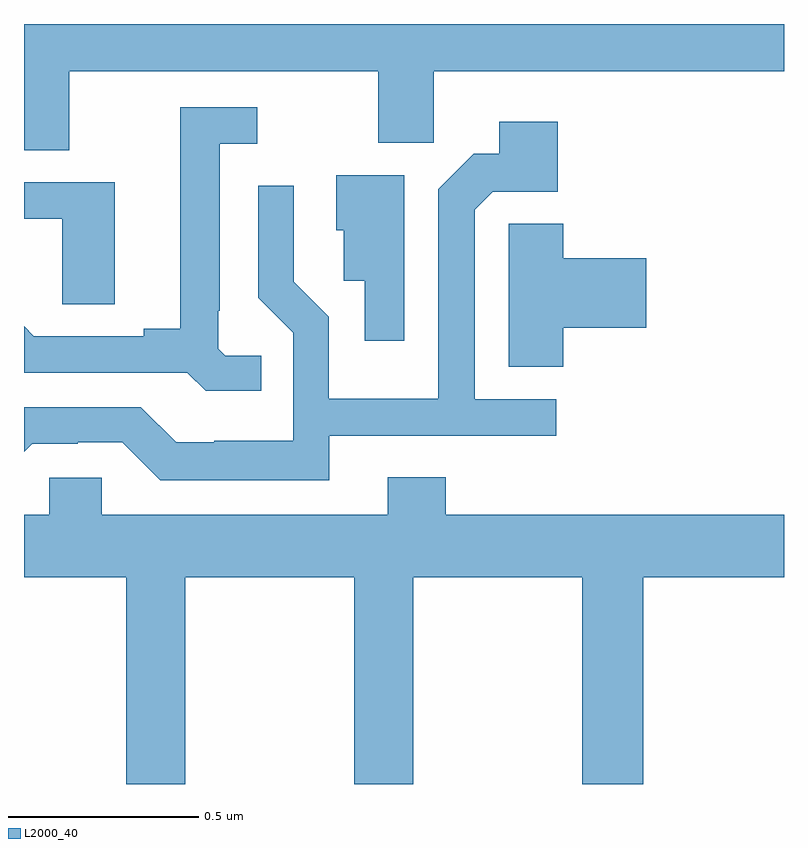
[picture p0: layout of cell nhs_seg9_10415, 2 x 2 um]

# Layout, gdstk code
import gdstk
lib = gdstk.Library(unit=1e-6, precision=1e-09)
def P(c, l, *ps):  # polygons
    for p in ps: c.add(gdstk.Polygon(p, *l))
L2000_40 = (2000, 40)

nhs_seg9_10415 = lib.new_cell('nhs_seg9_10415')
P(nhs_seg9_10415, L2000_40, [(242.119,1240.376),(242.932,1240.376),(242.932,1240.187),(243.078,1240.187),(243.078,1240.376),(244,1240.376),(244,1240.5),(242,1240.5),(242,1240.168),(242.119,1240.168)],
  [(242.624,1239.627),(242.529,1239.627),(242.511,1239.645),(242.511,1239.745),(242.515,1239.745),(242.515,1240.185),(242.614,1240.185),(242.614,1240.281),(242.411,1240.281),(242.411,1239.698),(242.315,1239.698),(242.315,1239.678),(242.026,1239.678),(242,1239.704),(242,1239.582),(242.43,1239.582),(242.478,1239.535),(242.624,1239.535)],
  [(242.803,1239.417),(243.4,1239.417),(243.4,1239.513),(243.186,1239.513),(243.186,1240.011),(243.234,1240.059),(243.404,1240.059),(243.404,1240.243),(243.251,1240.243),(243.251,1240.158),(243.183,1240.158),(243.09,1240.065),(243.09,1239.514),(242.802,1239.514),(242.802,1239.73),(242.71,1239.822),(242.71,1240.075),(242.616,1240.075),(242.616,1239.78),(242.709,1239.687),(242.709,1239.403),(242.5,1239.403),(242.5,1239.399),(242.4,1239.399),(242.307,1239.492),(242,1239.492),(242,1239.374),(242.022,1239.396),(242.142,1239.396),(242.142,1239.399),(242.259,1239.399),(242.359,1239.299),(242.803,1239.299)],
  [(243.001,1240.102),(242.822,1240.102),(242.822,1239.957),(242.841,1239.957),(242.841,1239.825),(242.897,1239.825),(242.897,1239.666),(243.001,1239.666)],
  [(242.239,1240.083),(242,1240.083),(242,1239.987),(242.1,1239.987),(242.1,1239.763),(242.239,1239.763)],
  [(243.419,1239.701),(243.637,1239.701),(243.637,1239.884),(243.419,1239.884),(243.419,1239.974),(243.276,1239.974),(243.276,1239.866),(243.275,1239.866),(243.275,1239.598),(243.419,1239.598)],
  [(242.424,1239.044),(242.869,1239.044),(242.869,1238.5),(243.024,1238.5),(243.024,1239.044),(243.469,1239.044),(243.469,1238.5),(243.629,1238.5),(243.629,1239.044),(244,1239.044),(244,1239.208),(243.11,1239.208),(243.11,1239.307),(242.957,1239.307),(242.957,1239.208),(242.205,1239.208),(242.205,1239.306),(242.067,1239.306),(242.067,1239.208),(242,1239.208),(242,1239.044),(242.269,1239.044),(242.269,1238.5),(242.424,1238.5)])

lib.write_gds('nhs_seg9_10415.gds')
